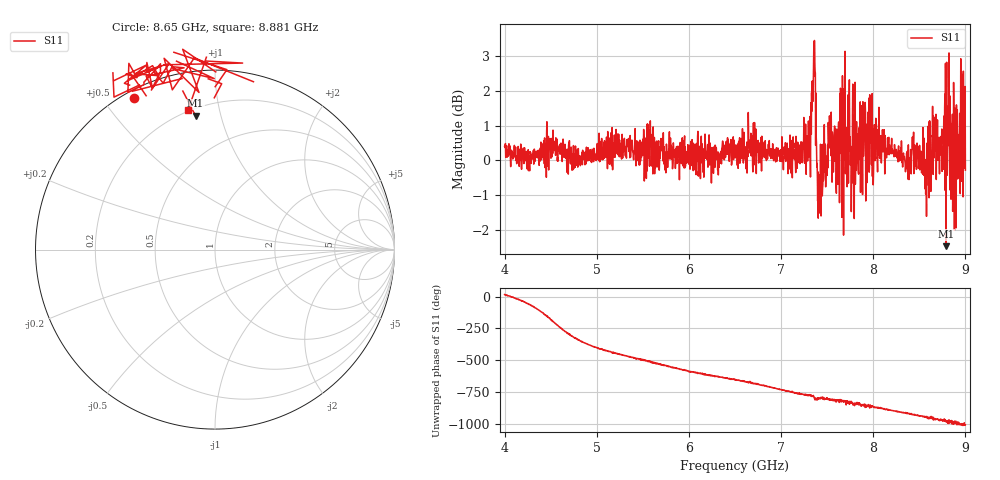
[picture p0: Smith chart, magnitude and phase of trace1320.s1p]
! Created with skrf 1.8.0 (http://scikit-rf.org).
# Hz S RI R 50.0
!freq ReS11 ImS11
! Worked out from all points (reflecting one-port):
!   1601 points, 4 GHz to 9 GHz, reference 50 ohm
!   lowest |S11| = -2.5 dB at 8.791 GHz (marker M1), VSWR 7.12, Z = 12.1 + j41.8 ohm
!   phase of S11 starts at 17 deg and turns -1025 deg over the sweep
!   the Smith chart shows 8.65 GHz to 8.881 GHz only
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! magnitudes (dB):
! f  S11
! 4 GHz  0.4
! 4.247 GHz  0.0
! 4.625 GHz  0.0
! 5.25 GHz  0.2
! 5.875 GHz  -0.1
! 6.5 GHz  0.2
! 7.125 GHz  0.5
! 7.294 GHz  0.3
! 7.347 GHz  1.7
! 7.366 GHz  2.8
! 7.4 GHz  -0.3
! 7.412 GHz  -1.5
! 7.538 GHz  0.8
! 7.591 GHz  0.0
! 7.65 GHz  1.7
! 7.75 GHz  0.7
! 7.816 GHz  -0.3
! 7.891 GHz  0.8
! 7.962 GHz  1.9
! 8.375 GHz  -0.2
! 8.441 GHz  -0.4
! 8.584 GHz  0.5
! 8.656 GHz  1.1
! 8.791 GHz  -2.5
! 8.819 GHz  0.4
! 8.856 GHz  -0.4
! 8.972 GHz  0.6
! 9 GHz  -0.3
